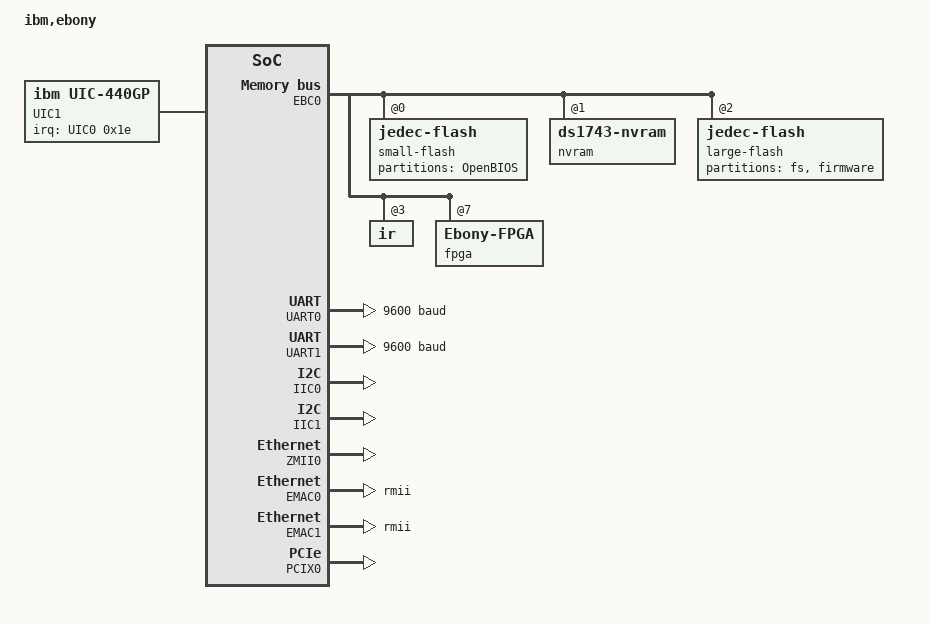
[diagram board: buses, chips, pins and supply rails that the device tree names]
/*
 * Device Tree Source for IBM Ebony
 *
 * Copyright (c) 2006, 2007 IBM Corp.
 * Josh Boyer <jwboyer@linux.vnet.ibm.com>, David Gibson <dwg@au1.ibm.com>
 *
 * FIXME: Draft only!
 *
 * This file is licensed under the terms of the GNU General Public
 * License version 2.  This program is licensed "as is" without
 * any warranty of any kind, whether express or implied.
 */

/dts-v1/;

/ {
	#address-cells = <2>;
	#size-cells = <1>;
	model = "ibm,ebony";
	compatible = "ibm,ebony";
	dcr-parent = <&{/cpus/cpu@0}>;

	aliases {
		ethernet0 = &EMAC0;
		ethernet1 = &EMAC1;
		serial0 = &UART0;
		serial1 = &UART1;
	};

	cpus {
		#address-cells = <1>;
		#size-cells = <0>;

		cpu@0 {
			device_type = "cpu";
			model = "PowerPC,440GP";
			reg = <0x00000000>;
			clock-frequency = <0>; // Filled in by zImage
			timebase-frequency = <0>; // Filled in by zImage
			i-cache-line-size = <32>;
			d-cache-line-size = <32>;
			i-cache-size = <32768>; /* 32 kB */
			d-cache-size = <32768>; /* 32 kB */
			dcr-controller;
			dcr-access-method = "native";
		};
	};

	memory {
		device_type = "memory";
		reg = <0x00000000 0x00000000 0x00000000>; // Filled in by zImage
	};

	UIC0: interrupt-controller0 {
		compatible = "ibm,uic-440gp", "ibm,uic";
		interrupt-controller;
		cell-index = <0>;
		dcr-reg = <0x0c0 0x009>;
		#address-cells = <0>;
		#size-cells = <0>;
		#interrupt-cells = <2>;

	};

	UIC1: interrupt-controller1 {
		compatible = "ibm,uic-440gp", "ibm,uic";
		interrupt-controller;
		cell-index = <1>;
		dcr-reg = <0x0d0 0x009>;
		#address-cells = <0>;
		#size-cells = <0>;
		#interrupt-cells = <2>;
		interrupts = <0x1e 0x4 0x1f 0x4>; /* cascade */
		interrupt-parent = <&UIC0>;
	};

	CPC0: cpc {
		compatible = "ibm,cpc-440gp";
		dcr-reg = <0x0b0 0x003 0x0e0 0x010>;
		// FIXME: anything else?
	};

	plb {
		compatible = "ibm,plb-440gp", "ibm,plb4";
		#address-cells = <2>;
		#size-cells = <1>;
		ranges;
		clock-frequency = <0>; // Filled in by zImage

		SDRAM0: memory-controller {
			compatible = "ibm,sdram-440gp";
			dcr-reg = <0x010 0x002>;
			// FIXME: anything else?
		};

		SRAM0: sram {
			compatible = "ibm,sram-440gp";
			dcr-reg = <0x020 0x008 0x00a 0x001>;
		};

		DMA0: dma {
			// FIXME: ???
			compatible = "ibm,dma-440gp";
			dcr-reg = <0x100 0x027>;
		};

		MAL0: mcmal {
			compatible = "ibm,mcmal-440gp", "ibm,mcmal";
			dcr-reg = <0x180 0x062>;
			num-tx-chans = <4>;
			num-rx-chans = <4>;
			interrupt-parent = <&MAL0>;
			interrupts = <0x0 0x1 0x2 0x3 0x4>;
			#interrupt-cells = <1>;
			#address-cells = <0>;
			#size-cells = <0>;
			interrupt-map = </*TXEOB*/ 0x0 &UIC0 0xa 0x4
					 /*RXEOB*/ 0x1 &UIC0 0xb 0x4
					 /*SERR*/  0x2 &UIC1 0x0 0x4
					 /*TXDE*/  0x3 &UIC1 0x1 0x4
					 /*RXDE*/  0x4 &UIC1 0x2 0x4>;
			interrupt-map-mask = <0xffffffff>;
		};

		POB0: opb {
			compatible = "ibm,opb-440gp", "ibm,opb";
			#address-cells = <1>;
			#size-cells = <1>;
			/* Wish there was a nicer way of specifying a full 32-bit
			   range */
			ranges = <0x00000000 0x00000001 0x00000000 0x80000000
				  0x80000000 0x00000001 0x80000000 0x80000000>;
			dcr-reg = <0x090 0x00b>;
			interrupt-parent = <&UIC1>;
			interrupts = <0x7 0x4>;
			clock-frequency = <0>; // Filled in by zImage

			EBC0: ebc {
				compatible = "ibm,ebc-440gp", "ibm,ebc";
				dcr-reg = <0x012 0x002>;
				#address-cells = <2>;
				#size-cells = <1>;
				clock-frequency = <0>; // Filled in by zImage
				// ranges property is supplied by zImage
				// based on firmware's configuration of the
				// EBC bridge
				interrupts = <0x5 0x4>;
				interrupt-parent = <&UIC1>;

				small-flash@0,80000 {
					compatible = "jedec-flash";
					bank-width = <1>;
					reg = <0x00000000 0x00080000 0x00080000>;
					#address-cells = <1>;
					#size-cells = <1>;
					partition@0 {
						label = "OpenBIOS";
						reg = <0x00000000 0x00080000>;
						read-only;
					};
				};

				nvram@1,0 {
					/* NVRAM & RTC */
					compatible = "ds1743-nvram";
					#bytes = <0x2000>;
					reg = <0x00000001 0x00000000 0x00002000>;
				};

				large-flash@2,0 {
					compatible = "jedec-flash";
					bank-width = <1>;
					reg = <0x00000002 0x00000000 0x00400000>;
					#address-cells = <1>;
					#size-cells = <1>;
					partition@0 {
						label = "fs";
						reg = <0x00000000 0x00380000>;
					};
					partition@380000 {
						label = "firmware";
						reg = <0x00380000 0x00080000>;
					};
				};

				ir@3,0 {
					reg = <0x00000003 0x00000000 0x00000010>;
				};

				fpga@7,0 {
					compatible = "Ebony-FPGA";
					reg = <0x00000007 0x00000000 0x00000010>;
					virtual-reg = <0xe8300000>;
				};
			};

			UART0: serial@40000200 {
				device_type = "serial";
				compatible = "ns16550";
				reg = <0x40000200 0x00000008>;
				virtual-reg = <0xe0000200>;
				clock-frequency = <11059200>;
				current-speed = <9600>;
				interrupt-parent = <&UIC0>;
				interrupts = <0x0 0x4>;
			};

			UART1: serial@40000300 {
				device_type = "serial";
				compatible = "ns16550";
				reg = <0x40000300 0x00000008>;
				virtual-reg = <0xe0000300>;
				clock-frequency = <11059200>;
				current-speed = <9600>;
				interrupt-parent = <&UIC0>;
				interrupts = <0x1 0x4>;
			};

			IIC0: i2c@40000400 {
				/* FIXME */
				compatible = "ibm,iic-440gp", "ibm,iic";
				reg = <0x40000400 0x00000014>;
				interrupt-parent = <&UIC0>;
				interrupts = <0x2 0x4>;
			};
			IIC1: i2c@40000500 {
				/* FIXME */
				compatible = "ibm,iic-440gp", "ibm,iic";
				reg = <0x40000500 0x00000014>;
				interrupt-parent = <&UIC0>;
				interrupts = <0x3 0x4>;
			};

			GPIO0: gpio@40000700 {
				/* FIXME */
				compatible = "ibm,gpio-440gp";
				reg = <0x40000700 0x00000020>;
			};

			ZMII0: emac-zmii@40000780 {
				compatible = "ibm,zmii-440gp", "ibm,zmii";
				reg = <0x40000780 0x0000000c>;
			};

			EMAC0: ethernet@40000800 {
				device_type = "network";
				compatible = "ibm,emac-440gp", "ibm,emac";
				interrupt-parent = <&UIC1>;
				interrupts = <0x1c 0x4 0x1d 0x4>;
				reg = <0x40000800 0x00000070>;
				local-mac-address = [000000000000]; // Filled in by zImage
				mal-device = <&MAL0>;
				mal-tx-channel = <0 1>;
				mal-rx-channel = <0>;
				cell-index = <0>;
				max-frame-size = <1500>;
				rx-fifo-size = <4096>;
				tx-fifo-size = <2048>;
				phy-mode = "rmii";
				phy-map = <0x00000001>;
				zmii-device = <&ZMII0>;
				zmii-channel = <0>;
			};
			EMAC1: ethernet@40000900 {
				device_type = "network";
				compatible = "ibm,emac-440gp", "ibm,emac";
				interrupt-parent = <&UIC1>;
				interrupts = <0x1e 0x4 0x1f 0x4>;
				reg = <0x40000900 0x00000070>;
				local-mac-address = [000000000000]; // Filled in by zImage
				mal-device = <&MAL0>;
				mal-tx-channel = <2 3>;
				mal-rx-channel = <1>;
				cell-index = <1>;
				max-frame-size = <1500>;
				rx-fifo-size = <4096>;
				tx-fifo-size = <2048>;
				phy-mode = "rmii";
				phy-map = <0x00000001>;
				zmii-device = <&ZMII0>;
				zmii-channel = <1>;
			};


			GPT0: gpt@40000a00 {
				/* FIXME */
				reg = <0x40000a00 0x000000d4>;
				interrupt-parent = <&UIC0>;
				interrupts = <0x12 0x4 0x13 0x4 0x14 0x4 0x15 0x4 0x16 0x4>;
			};

		};

		PCIX0: pci@20ec00000 {
			device_type = "pci";
			#interrupt-cells = <1>;
			#size-cells = <2>;
			#address-cells = <3>;
			compatible = "ibm,plb440gp-pcix", "ibm,plb-pcix";
			primary;
			reg = <0x00000002 0x0ec00000 0x00000008	/* Config space access */
			       0x00000000 0x00000000 0x00000000		/* no IACK cycles */
			       0x00000002 0x0ed00000 0x00000004     /* Special cycles */
			       0x00000002 0x0ec80000 0x000000f0	/* Internal registers */
			       0x00000002 0x0ec80100 0x000000fc>;	/* Internal messaging registers */

			/* Outbound ranges, one memory and one IO,
			 * later cannot be changed
			 */
			ranges = <0x02000000 0x00000000 0x80000000 0x00000003 0x80000000 0x00000000 0x80000000
				  0x01000000 0x00000000 0x00000000 0x00000002 0x08000000 0x00000000 0x00010000>;

			/* Inbound 2GB range starting at 0 */
			dma-ranges = <0x42000000 0x0 0x0 0x0 0x0 0x0 0x80000000>;

			/* Ebony has all 4 IRQ pins tied together per slot */
			interrupt-map-mask = <0xf800 0x0 0x0 0x0>;
			interrupt-map = <
				/* IDSEL 1 */
				0x800 0x0 0x0 0x0 &UIC0 0x17 0x8

				/* IDSEL 2 */
				0x1000 0x0 0x0 0x0 &UIC0 0x18 0x8

				/* IDSEL 3 */
				0x1800 0x0 0x0 0x0 &UIC0 0x19 0x8

				/* IDSEL 4 */
				0x2000 0x0 0x0 0x0 &UIC0 0x1a 0x8
			>;
		};
	};

	chosen {
		linux,stdout-path = "/plb/opb/serial@40000200";
	};
};
